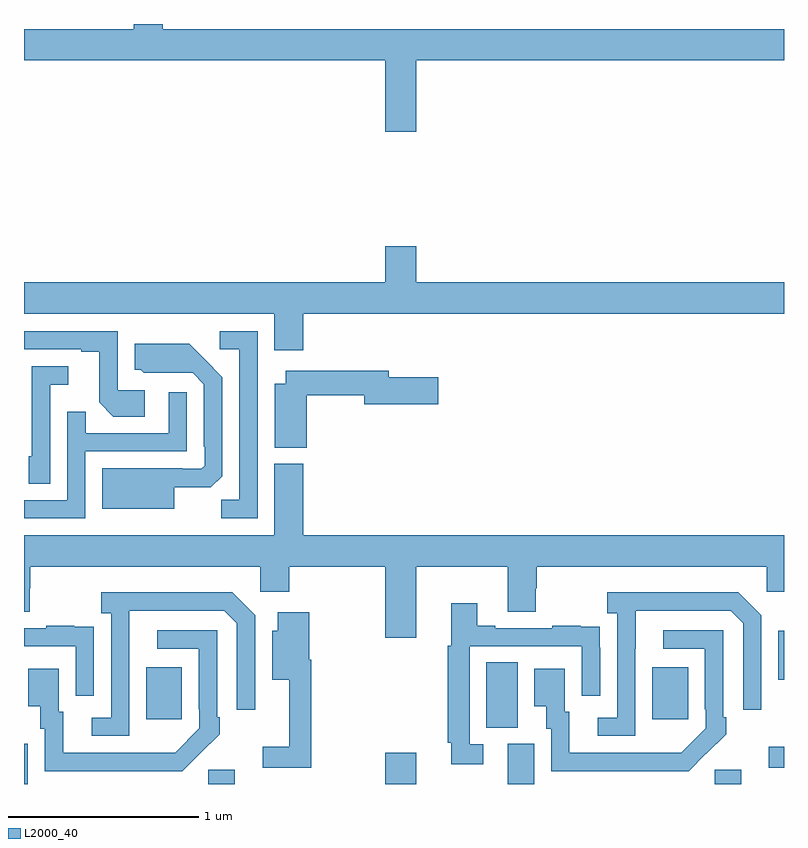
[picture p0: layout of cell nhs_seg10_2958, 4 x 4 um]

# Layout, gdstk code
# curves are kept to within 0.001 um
import gdstk
lib = gdstk.Library(unit=1e-6, precision=1e-09)
def R(c, l, rs):  # rectangles x0, y0, x1, y1
    for r in rs: c.add(gdstk.rectangle(r[:2], r[2:], *l))
def P(c, l, *ps):  # polygons
    for p in ps: c.add(gdstk.Polygon(p, *l))
L2000_40 = (2000, 40)

nhs_seg10_2958 = lib.new_cell('nhs_seg10_2958')
R(nhs_seg10_2958, L2000_40, [(271,1304.5,271.021,1304.712), (271.971,1304.5,272.11,1304.574), (272.9,1304.5,273.064,1304.665), (273.545,1304.5,273.685,1304.712), (274.635,1304.5,274.774,1304.574), (274.92,1304.586,275,1304.695), (273.434,1304.797,273.598,1305.14), (271.643,1304.841,271.831,1305.115), (274.307,1304.841,274.495,1305.115), (274.97,1305.05,275,1305.307)])
P(nhs_seg10_2958, L2000_40, [(273.064,1308.308),(275,1308.308),(275,1308.472),(271.73,1308.472),(271.73,1308.5),(271.578,1308.5),(271.578,1308.472),(271,1308.472),(271,1308.308),(272.9,1308.308),(272.9,1307.934),(273.064,1307.934)],
  [(272.471,1306.976),(275,1306.976),(275,1307.14),(273.064,1307.14),(273.064,1307.329),(272.9,1307.329),(272.9,1307.14),(271,1307.14),(271,1306.976),(272.318,1306.976),(272.318,1306.782),(272.471,1306.782)],
  [(272.229,1306.884),(272.031,1306.884),(272.031,1306.788),(272.133,1306.788),(272.133,1305.995),(272.038,1305.995),(272.038,1305.9),(272.229,1305.9)],
  [(271.636,1306.572),(271.494,1306.572),(271.494,1306.884),(271,1306.884),(271,1306.788),(271.301,1306.788),(271.301,1306.776),(271.395,1306.776),(271.395,1306.508),(271.471,1306.432),(271.636,1306.432)],
  [(271.792,1306.061),(271.984,1306.061),(272.043,1306.12),(272.043,1306.642),(271.871,1306.816),(271.583,1306.816),(271.583,1306.68),(271.614,1306.68),(271.63,1306.664),(271.887,1306.665),(271.947,1306.605),(271.947,1306.276),(271.95,1306.276),(271.95,1306.176),(271.932,1306.158),(271.832,1306.158),(271.832,1306.162),(271.412,1306.162),(271.412,1305.95),(271.792,1305.95)],
  [(271.137,1306.601),(271.234,1306.601),(271.234,1306.698),(271.041,1306.698),(271.041,1306.224),(271.026,1306.224),(271.026,1306.081),(271.137,1306.081)],
  [(272.488,1306.546),(272.792,1306.546),(272.792,1306.499),(273.181,1306.499),(273.181,1306.641),(272.92,1306.641),(272.92,1306.675),(272.378,1306.675),(272.378,1306.606),(272.321,1306.606),(272.321,1306.271),(272.488,1306.271)],
  [(271.323,1306.251),(271.857,1306.251),(271.857,1306.561),(271.761,1306.561),(271.761,1306.347),(271.325,1306.347),(271.325,1306.46),(271.227,1306.46),(271.227,1305.993),(271,1305.993),(271,1305.9),(271.323,1305.9)],
  [(273.064,1305.644),(273.545,1305.644),(273.545,1305.406),(273.693,1305.406),(273.693,1305.531),(273.698,1305.531),(273.698,1305.644),(274.908,1305.644),(274.908,1305.513),(275,1305.513),(275,1305.808),(272.471,1305.808),(272.471,1306.186),(272.318,1306.186),(272.318,1305.808),(271,1305.808),(271,1305.406),(271.029,1305.406),(271.029,1305.531),(271.034,1305.531),(271.034,1305.644),(272.244,1305.644),(272.244,1305.513),(272.396,1305.513),(272.396,1305.644),(272.9,1305.644),(272.9,1305.27),(273.064,1305.27)],
  [(274.218,1305.211),(274.219,1305.411),(274.719,1305.411),(274.785,1305.345),(274.785,1304.892),(274.881,1304.892),(274.881,1305.387),(274.76,1305.508),(274.071,1305.508),(274.071,1305.398),(274.122,1305.398),(274.122,1304.85),(274.02,1304.85),(274.02,1304.754),(274.218,1304.754)],
  [(271.554,1305.211),(271.555,1305.411),(272.055,1305.411),(272.121,1305.345),(272.121,1304.892),(272.217,1304.892),(272.217,1305.387),(272.096,1305.508),(271.407,1305.508),(271.407,1305.398),(271.458,1305.398),(271.458,1304.85),(271.356,1304.85),(271.356,1304.754),(271.554,1304.754)],
  [(273.418,1304.709),(273.345,1304.709),(273.345,1305.225),(273.936,1305.225),(273.936,1304.964),(274.032,1304.964),(274.032,1305.218),(274.031,1305.218),(274.031,1305.327),(273.929,1305.327),(273.929,1305.334),(273.781,1305.334),(273.781,1305.321),(273.481,1305.321),(273.481,1305.334),(273.385,1305.334),(273.385,1305.451),(273.248,1305.451),(273.248,1305.228),(273.229,1305.228),(273.229,1304.716),(273.248,1304.716),(273.248,1304.604),(273.418,1304.604)],
  [(272.513,1305.154),(272.502,1305.154),(272.502,1305.403),(272.336,1305.403),(272.336,1305.307),(272.306,1305.307),(272.306,1305.05),(272.396,1305.05),(272.396,1304.695),(272.256,1304.695),(272.256,1304.586),(272.513,1304.586)],
  [(271.368,1305.218),(271.367,1305.218),(271.367,1305.327),(271.265,1305.327),(271.265,1305.334),(271.117,1305.334),(271.117,1305.321),(271,1305.321),(271,1305.225),(271.272,1305.225),(271.272,1304.964),(271.368,1304.964)],
  [(274.589,1304.659),(274.59,1304.658),(274.695,1304.763),(274.695,1304.851),(274.68,1304.851),(274.68,1305.309),(274.365,1305.309),(274.365,1305.213),(274.584,1305.213),(274.584,1304.893),(274.587,1304.893),(274.587,1304.793),(274.459,1304.665),(273.871,1304.664),(273.871,1304.88),(273.847,1304.88),(273.847,1305.106),(273.686,1305.106),(273.686,1304.909),(273.749,1304.909),(273.749,1304.79),(273.774,1304.79),(273.774,1304.568),(274.498,1304.568)],
  [(271.925,1304.659),(271.926,1304.658),(272.031,1304.763),(272.031,1304.851),(272.016,1304.851),(272.016,1305.309),(271.701,1305.309),(271.701,1305.213),(271.92,1305.213),(271.92,1304.893),(271.923,1304.893),(271.923,1304.793),(271.795,1304.665),(271.207,1304.664),(271.207,1304.88),(271.183,1304.88),(271.183,1305.106),(271.022,1305.106),(271.022,1304.909),(271.085,1304.909),(271.085,1304.79),(271.11,1304.79),(271.11,1304.568),(271.834,1304.568)])

lib.write_gds('nhs_seg10_2958.gds')
